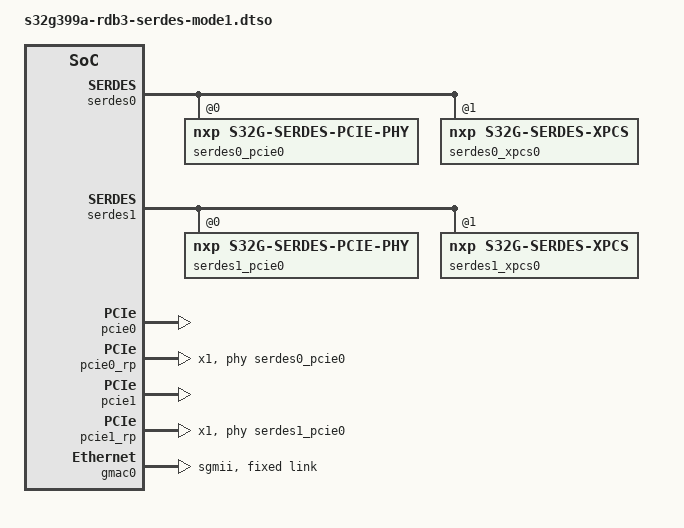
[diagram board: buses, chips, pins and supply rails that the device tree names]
// SPDX-License-Identifier: (GPL-2.0+ OR BSD-3-Clause)
/*
 * Copyright 2021-2026 NXP
 *
 * NXP S32G3 Reference Design Board 3 (S32G-VNP-RDB3),
 * SerDes_0 Mode 1: PCIe x1 (lane 0) + 1G SGMII via GMAC0 (XPCS0, lane 1).
 *
 * Overlay applied on top of s32g399a-rdb3.dtb. It reroutes GMAC0 from the
 * on-board RGMII PHY to the SerDes_0 XPCS0 lane and brings up the PCIe
 * controllers as root complexes. The lane layout present here selects
 * SerDes SUBSYS_MODE 1.
 */

/dts-v1/;
/plugin/;

&serdes0 {
	#address-cells = <1>;
	#size-cells = <0>;
	status = "okay";

	/* Mode 1 lane layout: PCIe on lane 0, GMAC SGMII (XPCS0) on lane 1. */
	serdes0_pcie0: phy@0 {
		reg = <0>;
		compatible = "nxp,s32g-serdes-pcie-phy";
		#phy-cells = <0>;
	};

	serdes0_xpcs0: phy@1 {
		reg = <1>;
		compatible = "nxp,s32g-serdes-xpcs";
		nxp,xpcs-instance = <0>;
	};
};

&serdes1 {
	#address-cells = <1>;
	#size-cells = <0>;
	status = "okay";

	/*
	 * SerDes_1 Mode 1 lane layout: PCIe on lane 0, SGMII (PFE_MAC0
	 * via XPCS0) on lane 1.
	 *
	 * Both lanes must be described: the SerDes driver derives the
	 * SUBSYS_MODE from the full lane mux, so lane 1 has to be present
	 * as XPCS instance 0 (PFE_MAC0) for the mode-1 match to succeed.
	 * PFE is not modeled as a MAC consumer in this upstreaming device
	 * tree, so the XPCS lane is only brought up by the SerDes driver
	 * and left without a pcs-handle user.
	 */
	serdes1_pcie0: phy@0 {
		reg = <0>;
		compatible = "nxp,s32g-serdes-pcie-phy";
		#phy-cells = <0>;
	};

	serdes1_xpcs0: phy@1 {
		reg = <1>;
		compatible = "nxp,s32g-serdes-xpcs";
		nxp,xpcs-instance = <0>;
	};
};

/*
 * Both PCIe root complexes are wired on the RDB3:
 *  - PCIe_0 reaches the M.2 slots (M-key or E-key) when board switch
 *    SW17-2 is set to ON. It consumes SerDes_0 lane-0 PCIe phy.
 *  - PCIe_1 reaches the PCIe card slot. It consumes SerDes_1 lane-0 PCIe phy.
 */
&pcie0 {
	status = "okay";
};

&pcie0_rp {
	num-lanes = <1>;
	phys = <&serdes0_pcie0>;
};

&pcie1 {
	status = "okay";
};

&pcie1_rp {
	num-lanes = <1>;
	phys = <&serdes1_pcie0>;
};

&gmac0 {
	/delete-property/ phy-handle;
	clocks = <&clks 24>, <&clks 17>, <&clks 16>, <&clks 15>;
	clock-names = "stmmaceth", "tx", "rx", "ptp_ref";
	phy-mode = "sgmii";
	pcs-handle = <&serdes0_xpcs0>;
	status = "okay";

	/*
	 * GMAC0 is wired back-to-back to the on-board SJA1110 switch over
	 * this SGMII lane. There is no PHY on the segment, so there is
	 * nothing to reference with phy-handle: the link partner is a
	 * switch port. Describe it as a fixed 1G link; phylink then uses
	 * out-of-band negotiation. The switch itself is not described by
	 * this overlay. The PCS also supports in-band negotiation, for
	 * boards whose link partner is described.
	 */
	fixed-link {
		speed = <1000>;
		full-duplex;
		pause;
	};
};
